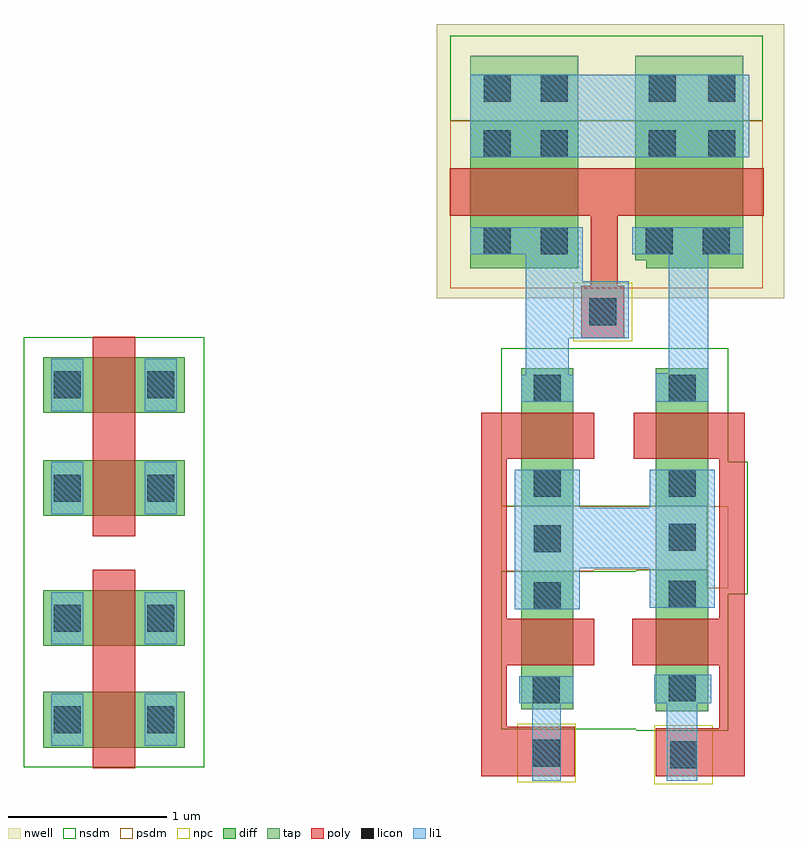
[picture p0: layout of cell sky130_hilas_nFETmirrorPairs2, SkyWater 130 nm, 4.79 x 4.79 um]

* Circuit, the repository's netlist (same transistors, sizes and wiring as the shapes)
* Copyright 2020 The Hilas PDK Authors
* 
* This file is part of HILAS.
* 
* HILAS is free software: you can redistribute it and/or modify
* it under the terms of the GNU Lesser General Public License as published by
* the Free Software Foundation, version 3 of the License.
* 
* HILAS is distributed in the hope that it will be useful,
* but WITHOUT ANY WARRANTY; without even the implied warranty of
* MERCHANTABILITY or FITNESS FOR A PARTICULAR PURPOSE.  See the
* GNU Lesser General Public License for more details.
* 
* You should have received a copy of the GNU Lesser General Public License
* along with HILAS.  If not, see <https://www.gnu.org/licenses/>.
* 
* Licensed under the Lesser General Public License, Version 3.0 (the "License");
* you may not use this file except in compliance with the License.
* You may obtain a copy of the License at
* 
* https://www.gnu.org/licenses/lgpl-3.0.en.html
* 
* Unless required by applicable law or agreed to in writing, software
* distributed under the License is distributed on an "AS IS" BASIS,
* WITHOUT WARRANTIES OR CONDITIONS OF ANY KIND, either express or implied.
* See the License for the specific language governing permissions and
* limitations under the License.
* 
* SPDX-License-Identifier: LGPL-3.0
* 
* 

* NGSPICE file created from sky130_hilas_nFETmirrorPairs2.ext - technology: sky130A

.subckt sky130_hilas_nFET03 SUB a_0_n38#
X0 a_54_n12# a_0_n38# a_n62_n12# SUB sky130_fd_pr__nfet_01v8 w=350000u l=270000u
.ends


* Top level circuit sky130_hilas_nFETmirrorPairs2

Xsky130_hilas_nFET03_0 sky130_hilas_nFET03_3/SUB a_n556_n246# sky130_hilas_nFET03
Xsky130_hilas_nFET03_1 sky130_hilas_nFET03_3/SUB a_n556_n246# sky130_hilas_nFET03
Xsky130_hilas_nFET03_3 sky130_hilas_nFET03_3/SUB a_n556_46# sky130_hilas_nFET03
Xsky130_hilas_nFET03_2 sky130_hilas_nFET03_3/SUB a_n556_46# sky130_hilas_nFET03
X0 a_128_272# a_124_n238# sky130_hilas_nFET03_3/SUB sky130_hilas_nFET03_3/SUB sky130_fd_pr__nfet_01v8 w=330000u l=290000u
X1 a_n106_328# a_n66_n378# sky130_hilas_nFET03_3/SUB sky130_hilas_nFET03_3/SUB sky130_fd_pr__nfet_01v8 w=330000u l=290000u
X2 w_n122_224# a_n106_328# a_128_272# w_n122_224# sky130_fd_pr__pfet_01v8 w=680000u l=300000u
X3 w_n122_224# a_n106_328# a_n106_328# w_n122_224# sky130_fd_pr__pfet_01v8 w=680000u l=300000u
X4 sky130_hilas_nFET03_3/SUB a_n66_n378# a_n66_n378# sky130_hilas_nFET03_3/SUB sky130_fd_pr__nfet_01v8 w=330000u l=290000u
X5 sky130_hilas_nFET03_3/SUB a_124_n238# a_124_n238# sky130_hilas_nFET03_3/SUB sky130_fd_pr__nfet_01v8 w=330000u l=290000u
.end

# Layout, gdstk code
import gdstk
lib = gdstk.Library(unit=1e-6, precision=1e-09)
def R(c, l, rs):  # rectangles x0, y0, x1, y1
    for r in rs: c.add(gdstk.rectangle(r[:2], r[2:], *l))
nwell = (64, 20)
diff = (65, 20)
tap = (65, 44)
poly = (66, 20)
licon = (66, 44)
li1 = (67, 20)
nsdm = (93, 44)
psdm = (94, 20)
npc = (95, 20)

sky130_hilas_nfet03 = lib.new_cell('sky130_hilas_nFET03')
R(sky130_hilas_nfet03, diff, [(-0.31,-0.06,0.58,0.29)])
R(sky130_hilas_nfet03, poly, [(0,-0.19,0.27,0.42)])
R(sky130_hilas_nfet03, licon, [(-0.245,0.03,-0.075,0.2), (0.345,0.03,0.515,0.2)])
R(sky130_hilas_nfet03, li1, [(-0.26,-0.05,-0.06,0.28), (0.33,-0.05,0.53,0.28)])
R(sky130_hilas_nfet03, nsdm, [(-0.435,-0.185,0.705,0.415)])

sky130_hilas_nfetmirrorp = lib.new_cell('sky130_hilas_nFETmirrorPairs2')
R(sky130_hilas_nfetmirrorp, nwell, [(-0.61,1.12,1.58,2.85)])
R(sky130_hilas_nfetmirrorp, diff, [(0.77,-1.48,1.1,-0.59), (-0.08,-1.47,0.25,-0.6), (-0.08,-0.19,0.25,0.68), (0.77,-0.19,1.1,0.68), (-0.4,1.31,0.28,2.24), (0.71,1.31,1.32,1.36), (0.64,1.36,1.32,2.24)])
R(sky130_hilas_nfetmirrorp, tap, [(-0.08,-0.6,0.25,-0.19), (0.77,-0.59,1.09,-0.58), (0.77,-0.58,1.1,-0.19), (-0.4,2.24,0.28,2.65), (0.64,2.24,1.32,2.65)])
R(sky130_hilas_nfetmirrorp, poly, [(-0.33,-1.89,0.26,-1.58), (0.77,-1.89,1.33,-1.59), (1.17,-1.59,1.33,-1.19), (-0.33,-1.58,-0.17,-1.19), (-2.78,-1.23,-2.51,-1.2), (-0.33,-1.19,0.38,-0.9), (0.62,-1.19,1.33,-0.9), (-0.33,-0.9,-0.17,0.11), (1.17,-0.9,1.33,0.11), (-0.33,0.11,0.38,0.4), (0.63,0.11,1.33,0.4), (-2.78,0.23,-2.51,0.27), (0.3,0.87,0.57,1.2), (0.36,1.2,0.53,1.64), (-0.53,1.64,1.45,1.94)])
R(sky130_hilas_nfetmirrorp, licon, [(0.86,-1.84,1.03,-1.67), (-0.005,-1.83,0.165,-1.66), (-0.005,-1.43,0.165,-1.26), (0.85,-1.42,1.02,-1.25), (0,-0.84,0.17,-0.67), (0.85,-0.83,1.02,-0.66), (0,-0.48,0.17,-0.31), (0.85,-0.47,1.02,-0.3), (0,-0.13,0.17,0.04), (0.85,-0.13,1.02,0.04), (0,0.47,0.17,0.64), (0.85,0.47,1.02,0.64), (0.35,0.95,0.52,1.12), (-0.315,1.4,-0.145,1.57), (0.045,1.4,0.215,1.57), (0.705,1.4,0.875,1.57), (1.065,1.4,1.235,1.57), (-0.315,2.01,-0.145,2.18), (0.045,2.01,0.215,2.18), (0.725,2.01,0.895,2.18), (1.1,2.01,1.27,2.18), (-0.315,2.36,-0.145,2.53), (0.045,2.36,0.215,2.53), (0.725,2.36,0.895,2.53), (1.1,2.36,1.27,2.53)])
R(sky130_hilas_nfetmirrorp, li1, [(-0.01,-1.92,0.17,-1.43), (0.84,-1.92,1.03,-1.43), (-0.09,-1.43,0.25,-1.26), (0.76,-1.43,1.12,-1.25), (-0.12,-0.84,0.29,-0.58), (0.73,-0.83,1.14,-0.58), (-0.12,-0.58,1.14,-0.2), (-0.12,-0.2,0.29,0.04), (0.73,-0.2,1.14,0.04), (-0.08,0.47,0.25,0.64), (0.77,0.47,1.1,0.65), (-0.05,0.64,0.22,0.87), (0.85,0.65,1.1,1.4), (-0.05,0.87,0.6,1.23), (-0.05,1.23,0.31,1.4), (-0.4,1.4,0.31,1.57), (0.62,1.4,1.32,1.57), (-0.4,2.01,1.36,2.53)])
R(sky130_hilas_nfetmirrorp, nsdm, [(0.645,-1.605,1.225,-1.595), (-0.205,-1.595,1.225,-0.745), (-3.215,-1.235,-2.075,-1.195), (-0.205,-0.745,1.35,-0.6), (0.645,-0.6,1.35,-0.59), (-3.215,-0.595,-2.075,-0.375), (1.09,-0.59,1.35,-0.19), (-0.205,-0.19,1.35,0.09), (-0.205,0.09,1.225,0.805), (-3.215,0.225,-2.075,0.275), (-0.525,2.24,1.445,2.775)])
R(sky130_hilas_nfetmirrorp, psdm, [(1.09,-0.705,1.225,-0.59), (-0.205,-0.6,0.375,-0.59), (-0.205,-0.59,1.225,-0.19), (-0.525,1.185,1.445,2.24)])
R(sky130_hilas_nfetmirrorp, npc, [(0.76,-1.94,1.13,-1.57), (-0.105,-1.93,0.265,-1.56), (0.25,0.85,0.62,1.22)])
sky130_hilas_nfetmirrorp.add(gdstk.Reference(sky130_hilas_nfet03, (-2.78,0.46)))
sky130_hilas_nfetmirrorp.add(gdstk.Reference(sky130_hilas_nfet03, (-2.78,-0.19)))
sky130_hilas_nfetmirrorp.add(gdstk.Reference(sky130_hilas_nfet03, (-2.78,-1.01)))
sky130_hilas_nfetmirrorp.add(gdstk.Reference(sky130_hilas_nfet03, (-2.78,-1.65)))

lib.write_gds('sky130_hilas_nFETmirrorPairs2.gds')
